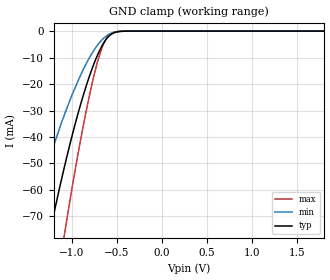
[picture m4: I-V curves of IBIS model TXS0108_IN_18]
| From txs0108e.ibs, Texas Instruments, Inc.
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[Model]   TXS0108_IN_18
Model_type  Input
Vinl=0.5775
Vinh=1.2675
| variable   typ   min   max
C_comp   3.03pF   2.64pF   3.31pF
[Temperature Range]   40   100   -40
| Ambient temperature   25   85   -40
[Voltage range]   1.8   1.65   1.95
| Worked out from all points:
|   GND clamp passes 1 mA (typ) near -0.55 V on its own axis
[GND Clamp]
| TXS0108_IN_18
|   Voltage   I(typ)   I(min)   I(max)
-5.5V     -1.044A    -792.1mA   -1.306A
-1.5V     -120.7mA   -77.54mA   -175.7mA
-1.45V    -111.6mA   -71.34mA   -163.1mA
-1.24V    -75.48mA   -47.29mA   -112.2mA
-1.08V    -50.97mA   -31.4mA    -76.37mA
-1.06V    -48.13mA   -29.58mA   -72.13mA
-920mV    -29.79mA   -17.97mA   -44.32mA
-765mV    -13.31mA   -7.82mA    -18.4mA
-660mV    -5.29mA    -3.146mA   -5.949mA
-575mV    -1.539mA   -1.032mA   -1.212mA
-375mV    -12.61uA   -15.87uA   -2.271uA
1.8V      112.9pA    537.8pA    13.45pA
